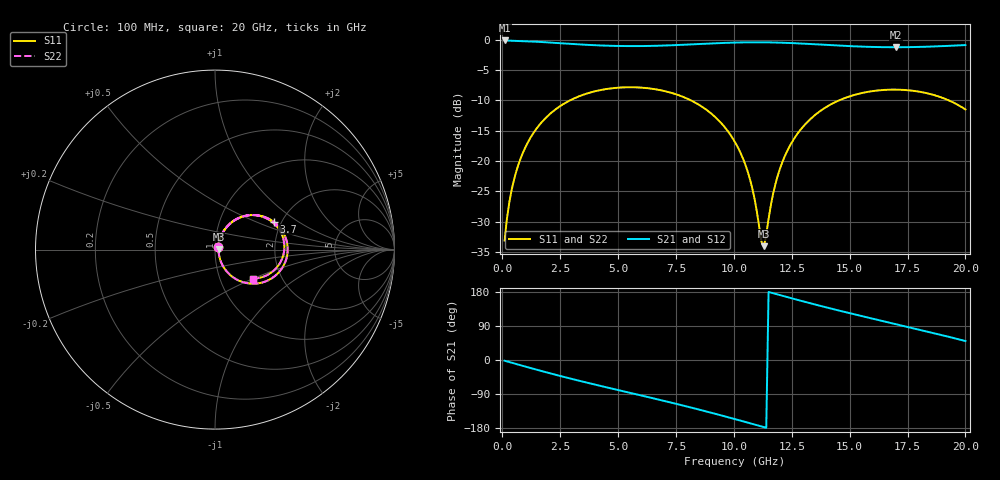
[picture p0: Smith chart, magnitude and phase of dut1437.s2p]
! Touchstone file exported from HFSS 2026.1.0
!  File:  C:/ffzhzh/LocalFiles/Ansys_Project_Files/temp_train_TSV_RDL_1437_1783356938_48288.aedt
!  Generated:  01:09:47 AM Jul  7, 2026
!  Design:  TSV_RDL
!  Project:  temp_train_TSV_RDL_1437_1783356938_48288
! Variables:
!  h_bsmrdl = 4.96um
!  h_ox = 20um
!  h_rdl = 5um
!  h_sub = 71.58um
!  h_tmrdl = 4.79um
!  h_tsv = 71.58um
!  h_via = 3um
!  l_bsmrdl = 970.88um
!  l_sub = 5449um
!  l_tmrdl = 494.7um
!  m_sub = 200um
!  pitch = 45.11um
!  r_tsv = 5.9um
!  s_tmrdl = 10um
!  w_bsmrdl = 27.79um
!  w_sub = 500um
!  w_tmrdl = 24.73um
!  x_tsv_center1 = 507.065um
!  x_tsv_center2 = 1505.735um
!  x_tsv_center3 = 2025.165um
!  x_tsv_center4 = 3023.835um
!  x_tsv_center5 = 3543.265um
!  x_tsv_center6 = 4541.935um
# GHz S MA R 50.000000
! Terminal data exported
! Port[1] = TM_RDL1_1_T1
! Port[2] = TM_RDL5_1_T1
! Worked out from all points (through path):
!   200 points, 100 MHz to 20 GHz, reference 50 ohm
!   highest |S21| = -0.14 dB at 100 MHz (marker M1); lowest = -1.3 dB at 17 GHz (marker M2)
!   group delay of S21, straight-line fit = 43 ps
!   lowest |S11| = -34.0 dB at 11.3 GHz (marker M3), VSWR 1.04, Z = 52 + j0.363 ohm
!   |S11| at or under -10 dB: start of sweep to 2.934 GHz; 8.136 GHz to 14.56 GHz (6.419 GHz wide, 56.6 % of centre); 19.27 GHz to end of sweep
!   |S22| runs from -34.1 to -7.9 dB; largest |S21 - S12| = 1.7e-14
!   S11 on the Smith chart (normalised r, x): 100 MHz: 1.03, +0.03; 3.7 GHz: 1.82, +0.65; 20 GHz: 1.43, -0.50
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0.1  0.02211 40.5  0.9835 -1.9  0.9835 -1.9  0.02211 40.5
! Gamma 0 0 0 0
! Port Impedance 50 0 50 0
0.3  0.0453 60.3  0.9805 -5.4  0.9805 -5.4  0.0453 60.3
0.5  0.0694 64.7  0.9782 -8.8  0.9782 -8.8  0.0694 64.7
1.1  0.1417 62.2  0.9687 -19.1  0.9687 -19.1  0.1417 62.2
2.1  0.2479 48.7  0.9445 -35.7  0.9445 -35.7  0.2479 48.7
3.5  0.3514 28.4  0.9084 -57.5  0.9084 -57.5  0.3514 28.4
3.7  0.3616 25.5  0.9041 -60.4  0.9041 -60.4  0.3616 25.5
5.3  0.4044 3.4  0.8842 -83.6  0.8842 -83.6  0.4044 3.4
6.8  0.384 -17.1  0.8906 -105.2  0.8906 -105.2  0.384 -17.1
8.8  0.2654 -45.2  0.925 -135.6  0.925 -135.6  0.2654 -45.2
10.1  0.1374 -61.8  0.9456 -156.9  0.9456 -156.9  0.1374 -61.8
10.7  0.07027 -63.6  0.9499 -167.0  0.9499 -167.0  0.07025 -63.6
11.2  0.02133 -21.4  0.95 -175.4  0.95 -175.4  0.02128 -21.4
11.3  0.01986 10.1  0.9496 -177.1  0.9496 -177.1  0.01981 10.2
11.7  0.0541 62.6  0.9469 176.1  0.9469 176.1  0.0541 62.7
12.1  0.09834 65.8  0.9422 169.4  0.9422 169.4  0.09835 65.9
13.4  0.2298 51.9  0.9175 148.2  0.9175 148.2  0.2299 51.9
15  0.3405 29.9  0.8834 123.6  0.8834 123.6  0.3406 29.9
16.7  0.3866 7.0  0.8652 99.0  0.8652 99.0  0.3866 7.0
17  0.3871 2.9  0.8648 94.7  0.8648 94.7  0.3872 2.9
18.6  0.351 -18.6  0.8771 71.4  0.8771 71.4  0.3511 -18.6
20  0.2657 -37.5  0.901 50.1  0.901 50.1  0.2658 -37.5
